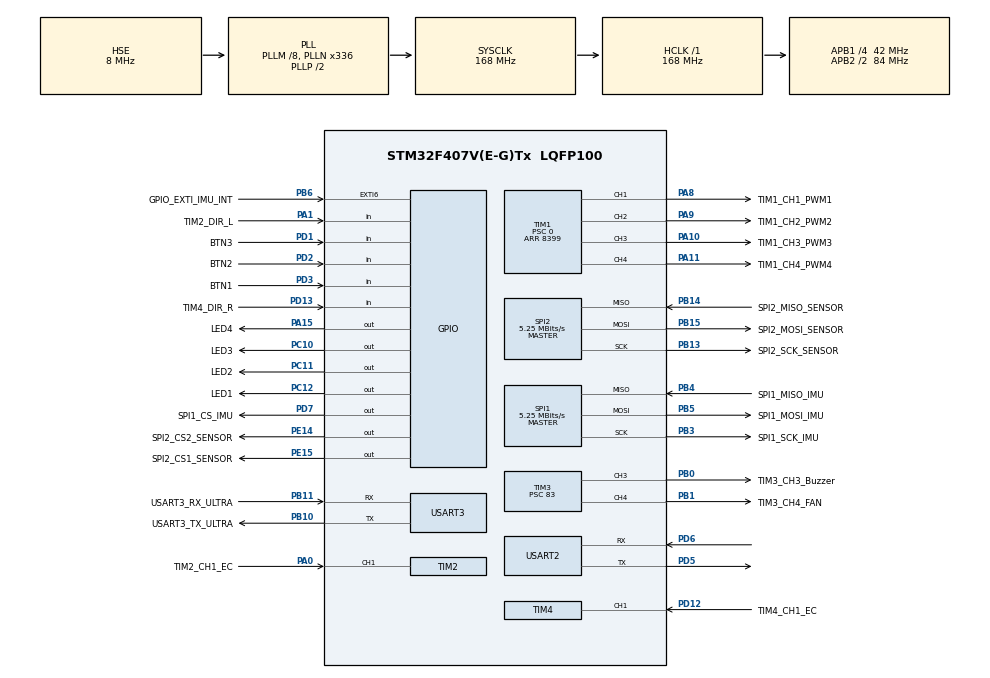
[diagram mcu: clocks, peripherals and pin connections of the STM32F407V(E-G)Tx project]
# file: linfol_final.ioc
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Dma.Request0=SPI2_RX
Dma.Request1=SPI2_TX
Dma.Request2=SPI1_RX
Dma.Request3=SPI1_TX
Dma.SPI1_RX.2.Direction=DMA_PERIPH_TO_MEMORY
Dma.SPI1_RX.2.FIFOMode=DMA_FIFOMODE_DISABLE
Dma.SPI1_RX.2.Instance=DMA2_Stream0
Dma.SPI1_RX.2.MemDataAlignment=DMA_MDATAALIGN_BYTE
Dma.SPI1_RX.2.MemInc=DMA_MINC_ENABLE
Dma.SPI1_RX.2.Mode=DMA_NORMAL
Dma.SPI1_RX.2.PeriphDataAlignment=DMA_PDATAALIGN_BYTE
Dma.SPI1_RX.2.PeriphInc=DMA_PINC_DISABLE
Dma.SPI1_RX.2.Priority=DMA_PRIORITY_MEDIUM
Dma.SPI1_TX.3.Direction=DMA_MEMORY_TO_PERIPH
Dma.SPI1_TX.3.FIFOMode=DMA_FIFOMODE_DISABLE
Dma.SPI1_TX.3.Instance=DMA2_Stream3
Dma.SPI1_TX.3.MemDataAlignment=DMA_MDATAALIGN_BYTE
Dma.SPI1_TX.3.MemInc=DMA_MINC_ENABLE
Dma.SPI1_TX.3.Mode=DMA_NORMAL
Dma.SPI1_TX.3.PeriphDataAlignment=DMA_PDATAALIGN_BYTE
Dma.SPI1_TX.3.PeriphInc=DMA_PINC_DISABLE
Dma.SPI1_TX.3.Priority=DMA_PRIORITY_MEDIUM
Dma.SPI2_RX.0.Direction=DMA_PERIPH_TO_MEMORY
Dma.SPI2_RX.0.FIFOMode=DMA_FIFOMODE_DISABLE
Dma.SPI2_RX.0.Instance=DMA1_Stream3
Dma.SPI2_RX.0.MemDataAlignment=DMA_MDATAALIGN_HALFWORD
Dma.SPI2_RX.0.MemInc=DMA_MINC_ENABLE
Dma.SPI2_RX.0.Mode=DMA_NORMAL
Dma.SPI2_RX.0.PeriphDataAlignment=DMA_PDATAALIGN_HALFWORD
Dma.SPI2_RX.0.PeriphInc=DMA_PINC_DISABLE
Dma.SPI2_RX.0.Priority=DMA_PRIORITY_HIGH
Dma.SPI2_TX.1.Direction=DMA_MEMORY_TO_PERIPH
Dma.SPI2_TX.1.FIFOMode=DMA_FIFOMODE_DISABLE
Dma.SPI2_TX.1.Instance=DMA1_Stream4
Dma.SPI2_TX.1.MemDataAlignment=DMA_MDATAALIGN_HALFWORD
Dma.SPI2_TX.1.MemInc=DMA_MINC_ENABLE
Dma.SPI2_TX.1.Mode=DMA_NORMAL
Dma.SPI2_TX.1.PeriphDataAlignment=DMA_PDATAALIGN_HALFWORD
Dma.SPI2_TX.1.PeriphInc=DMA_PINC_DISABLE
Dma.SPI2_TX.1.Priority=DMA_PRIORITY_HIGH
Mcu.Family=STM32F4
Mcu.Name=STM32F407V(E-G)Tx
Mcu.Package=LQFP100
NVIC.DMA1_Stream3_IRQn=true\:2\:0\:true\:false\:true\:false\:true\:true
NVIC.DMA1_Stream4_IRQn=true\:2\:0\:true\:false\:true\:false\:true\:true
NVIC.DMA2_Stream0_IRQn=true\:3\:0\:true\:false\:true\:false\:true\:true
NVIC.DMA2_Stream3_IRQn=true\:3\:0\:true\:false\:true\:false\:true\:true
NVIC.PriorityGroup=NVIC_PRIORITYGROUP_4
NVIC.SPI1_IRQn=true\:3\:0\:true\:false\:true\:true\:true\:true
NVIC.SPI2_IRQn=true\:2\:0\:true\:false\:true\:true\:true\:true
NVIC.TIM2_IRQn=true\:4\:0\:true\:false\:true\:true\:true\:true
NVIC.TIM4_IRQn=true\:4\:0\:true\:false\:true\:true\:true\:true
NVIC.TIM7_IRQn=true\:1\:0\:true\:false\:true\:true\:true\:true
NVIC.USART2_IRQn=true\:6\:0\:true\:false\:true\:true\:true\:true
NVIC.USART3_IRQn=true\:5\:0\:true\:false\:true\:true\:true\:true
PA0-WKUP.GPIO_Label=TIM2_CH1_EC
PA0-WKUP.Signal=S_TIM2_CH1_ETR
PA1.GPIO_Label=TIM2_DIR_L
PA1.GPIO_PuPd=GPIO_NOPULL
PA1.Signal=GPIO_Input
PA10.GPIO_Label=TIM1_CH3_PWM3
PA10.GPIO_Speed=GPIO_SPEED_FREQ_HIGH
PA10.Signal=S_TIM1_CH3
PA11.GPIO_Label=TIM1_CH4_PWM4
PA11.GPIO_Speed=GPIO_SPEED_FREQ_HIGH
PA11.Signal=S_TIM1_CH4
PA13.Mode=Serial_Wire
PA13.Signal=SYS_JTMS-SWDIO
PA14.Mode=Serial_Wire
PA14.Signal=SYS_JTCK-SWCLK
PA15.GPIO_Label=LED4
PA15.Signal=GPIO_Output
PA8.GPIO_Label=TIM1_CH1_PWM1
PA8.GPIO_Speed=GPIO_SPEED_FREQ_HIGH
PA8.Signal=S_TIM1_CH1
PA9.GPIO_Label=TIM1_CH2_PWM2
PA9.GPIO_Speed=GPIO_SPEED_FREQ_HIGH
PA9.Signal=S_TIM1_CH2
PB0.GPIO_Label=TIM3_CH3_Buzzer
PB0.Signal=S_TIM3_CH3
PB1.GPIO_Label=TIM3_CH4_FAN
PB1.Signal=S_TIM3_CH4
PB10.GPIO_Label=USART3_TX_ULTRA
PB10.Mode=Asynchronous
PB10.Signal=USART3_TX
PB11.GPIO_Label=USART3_RX_ULTRA
PB11.Mode=Asynchronous
PB11.Signal=USART3_RX
PB13.GPIO_Label=SPI2_SCK_SENSOR
PB13.Mode=Full_Duplex_Master
PB13.Signal=SPI2_SCK
PB14.GPIO_Label=SPI2_MISO_SENSOR
PB14.Mode=Full_Duplex_Master
PB14.Signal=SPI2_MISO
PB15.GPIO_Label=SPI2_MOSI_SENSOR
PB15.Mode=Full_Duplex_Master
PB15.Signal=SPI2_MOSI
PB3.GPIO_Label=SPI1_SCK_IMU
PB3.Mode=Full_Duplex_Master
PB3.Signal=SPI1_SCK
PB4.GPIO_Label=SPI1_MISO_IMU
PB4.Mode=Full_Duplex_Master
PB4.Signal=SPI1_MISO
PB5.GPIO_Label=SPI1_MOSI_IMU
PB5.Mode=Full_Duplex_Master
PB5.Signal=SPI1_MOSI
PB6.GPIO_Label=GPIO_EXTI_IMU_INT
PB6.GPIO_ModeDefaultEXTI=GPIO_MODE_IT_FALLING
PB6.GPIO_PuPd=GPIO_PULLUP
PB6.Signal=GPXTI6
PC10.GPIO_Label=LED3
PC10.Signal=GPIO_Output
PC11.GPIO_Label=LED2
PC11.Signal=GPIO_Output
PC12.GPIO_Label=LED1
PC12.Signal=GPIO_Output
PD1.GPIO_Label=BTN3
PD1.GPIO_PuPd=GPIO_PULLUP
PD1.Signal=GPIO_Input
PD12.GPIO_Label=TIM4_CH1_EC
PD12.Signal=S_TIM4_CH1
PD13.GPIO_Label=TIM4_DIR_R
PD13.GPIO_PuPd=GPIO_NOPULL
PD13.Signal=GPIO_Input
PD2.GPIO_Label=BTN2
PD2.GPIO_PuPd=GPIO_PULLUP
PD2.Signal=GPIO_Input
PD3.GPIO_Label=BTN1
PD3.GPIO_PuPd=GPIO_PULLUP
PD3.Signal=GPIO_Input
PD5.Mode=Asynchronous
PD5.Signal=USART2_TX
PD6.Mode=Asynchronous
PD6.Signal=USART2_RX
PD7.GPIO_Label=SPI1_CS_IMU
PD7.PinState=GPIO_PIN_SET
PD7.Signal=GPIO_Output
PE14.GPIO_Label=SPI2_CS2_SENSOR
PE14.Signal=GPIO_Output
PE15.GPIO_Label=SPI2_CS1_SENSOR
PE15.Signal=GPIO_Output
PH0-OSC_IN.Mode=HSE-External-Oscillator
PH0-OSC_IN.Signal=RCC_OSC_IN
PH1-OSC_OUT.Mode=HSE-External-Oscillator
PH1-OSC_OUT.Signal=RCC_OSC_OUT
ProjectManager.HeapSize=0x2000
ProjectManager.StackSize=0x2000
ProjectManager.TargetToolchain=CMake
RCC.48MHZClocksFreq_Value=84000000
RCC.AHBFreq_Value=168000000
RCC.APB1CLKDivider=RCC_HCLK_DIV4
RCC.APB1Freq_Value=42000000
RCC.APB1TimFreq_Value=84000000
RCC.APB2CLKDivider=RCC_HCLK_DIV2
RCC.APB2Freq_Value=84000000
RCC.APB2TimFreq_Value=168000000
RCC.CortexFreq_Value=168000000
RCC.HCLKFreq_Value=168000000
RCC.HSE_VALUE=8000000
RCC.HSI_VALUE=16000000
RCC.LSE_VALUE=32768
RCC.PLLM=8
RCC.PLLN=336
RCC.PLLSourceVirtual=RCC_PLLSOURCE_HSE
RCC.SYSCLKFreq_VALUE=168000000
RCC.SYSCLKSource=RCC_SYSCLKSOURCE_PLLCLK
RCC.VCOOutputFreq_Value=336000000
SH.S_TIM1_CH1.0=TIM1_CH1,PWM Generation1 CH1
SH.S_TIM1_CH2.0=TIM1_CH2,PWM Generation2 CH2
SH.S_TIM1_CH3.0=TIM1_CH3,PWM Generation3 CH3
SH.S_TIM1_CH4.0=TIM1_CH4,PWM Generation4 CH4
SH.S_TIM2_CH1_ETR.0=TIM2_CH1,TriggerSource_TI1ED
SH.S_TIM3_CH3.0=TIM3_CH3,PWM Generation3 CH3
SH.S_TIM3_CH4.0=TIM3_CH4,PWM Generation4 CH4
SH.S_TIM4_CH1.0=TIM4_CH1,TriggerSource_TI1ED
SPI1.BaudRatePrescaler=SPI_BAUDRATEPRESCALER_16
SPI1.CalculateBaudRate=5.25 MBits/s
SPI1.DataSize=SPI_DATASIZE_8BIT
SPI1.Direction=SPI_DIRECTION_2LINES
SPI1.Mode=SPI_MODE_MASTER
SPI1.VirtualType=VM_MASTER
SPI2.BaudRatePrescaler=SPI_BAUDRATEPRESCALER_8
SPI2.CLKPolarity=SPI_POLARITY_LOW
SPI2.CalculateBaudRate=5.25 MBits/s
SPI2.DataSize=SPI_DATASIZE_16BIT
SPI2.Direction=SPI_DIRECTION_2LINES
SPI2.Mode=SPI_MODE_MASTER
SPI2.VirtualType=VM_MASTER
TIM1.Channel-PWM\ Generation1\ CH1=TIM_CHANNEL_1
TIM1.Channel-PWM\ Generation2\ CH2=TIM_CHANNEL_2
TIM1.Channel-PWM\ Generation3\ CH3=TIM_CHANNEL_3
TIM1.Channel-PWM\ Generation4\ CH4=TIM_CHANNEL_4
TIM1.Period=8399
TIM1.Prescaler=0
TIM2.AutoReloadPreload=TIM_AUTORELOAD_PRELOAD_ENABLE
TIM2.IC1Filter=10
TIM2.Period=65535
TIM2.Prescaler=0
TIM3.Channel-PWM\ Generation3\ CH3=TIM_CHANNEL_3
TIM3.Channel-PWM\ Generation4\ CH4=TIM_CHANNEL_4
TIM3.Period=19999
TIM3.Prescaler=83
TIM4.AutoReloadPreload=TIM_AUTORELOAD_PRELOAD_ENABLE
TIM4.IC1Filter=10
TIM4.Period=65535
TIM4.Prescaler=0
TIM7.Period=999
TIM7.Prescaler=83
USART2.VirtualMode=VM_ASYNC
USART3.VirtualMode=VM_ASYNC
VP_TIM1_VS_ClockSourceINT.Mode=Internal
VP_TIM3_VS_ClockSourceINT.Mode=Internal
VP_TIM7_VS_ClockSourceINT.Mode=Enable_Timer
board=custom

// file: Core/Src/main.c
/* USER CODE BEGIN Header */
/**
  ******************************************************************************
  * @file           : main.c
  * @brief          : Main program body
  ******************************************************************************
  * @attention
  *
  * Copyright (c) 2026 STMicroelectronics.
  * All rights reserved.
  *
  * This software is licensed under terms that can be found in the LICENSE file
  * in the root directory of this software component.
  * If no LICENSE file comes with this software, it is provided AS-IS.
  *
  ******************************************************************************
  */
/* USER CODE END Header */
#include "main.h"
#include "dma.h"
#include "spi.h"
#include "tim.h"
#include "usart.h"
#include "gpio.h"

/* USER CODE BEGIN Includes */
#include "app_common.h"
#include "app_vofa_cmd.h"   /* ⚠️ 新增: VOFA+ 在线调参模块 */
/* USER CODE END Includes */

void SystemClock_Config(void);

int main(void)
{

  /* MCU Configuration--------------------------------------------------------*/

  /* Reset of all peripherals, Initializes the Flash interface and the Systick. */
  HAL_Init();

  /* Configure the system clock */
  SystemClock_Config();

  /* Initialize all configured peripherals */
  MX_GPIO_Init();
  MX_DMA_Init();
  MX_SPI1_Init();
  MX_SPI2_Init();
  MX_TIM1_Init();
  MX_TIM2_Init();
  MX_TIM3_Init();
  MX_USART2_UART_Init();
  MX_TIM4_Init();
  MX_USART3_UART_Init();
  MX_TIM7_Init();
  /* USER CODE BEGIN 2 */
  app_button_init();
  app_encoder_init();
  app_motor_init();
  app_gyro_init();
  // app_fengshan(1);     // 风扇, 如需要取消注释 (~24s 渐加速)
  app_adc_init();
  app_vofa_init();        // VOFA+ TX DMA 初始化 (发送 12 通道遥测)
                          //   必须在 MX_DMA_Init 和 MX_USART2_UART_Init 之后
  app_vofa_cmd_init();    // ⚠️ 新增: VOFA+ RX DMA + IDLE 中断初始化
                          //   在 app_vofa_init 之后, 复用同一个 USART2
                          //   支持运行时通过 VOFA+ 命令面板修改 PID 参数

  // app_pidtest_init();  // ⚠️ 已移除: 原 PID 测试模式不再使用,
                          //   改由 VOFA+ 在线调参 (app_vofa_cmd) 取代

  HAL_TIM_Base_Start_IT(&htim7);  // 启动 1ms 控制中断!
  uint32_t adc_poll_tick = HAL_GetTick();
  /* USER CODE END 2 */

  /* Infinite loop */
  while (1)
  {

    /* USER CODE BEGIN 3 */
    /*
     * ⚠️ printf 已注释: USART2 现在由 VOFA+ 独占 (TX 发波形, RX 收命令)
     *    printf 的阻塞发送会和 DMA 冲突, 导致数据错乱
     *    所有调试数据都通过 VOFA+ 12 个通道查看
     *    所有 PID 参数修改通过 VOFA+ 命令面板发 "NAME=VALUE\n"
     */
    // printf("%f,%f\r\n", jiaosudutobe, jiaosudu);

    /*
     * 解析 VOFA+ 接收到的参数调整命令
     *   - strtof / snprintf 太慢, 不适合放在 TIM7 1ms 中断里
     *   - 放在主循环, 响应延迟 <10ms 足够用
     */
    app_vofa_cmd_process();

    /* Keep blocking SPI out of the 1ms control ISR so serial commands and
     * SysTick can run. ADC/calibration/control calculations still run at 1ms. */
    uint32_t now = HAL_GetTick();
    if ((uint32_t)(now - adc_poll_tick) >= 5u)
    {
      app_adc_poll();
      adc_poll_tick = HAL_GetTick();
    }

    /*
     * VOFA 数据发送移到主循环 (不在 TIM7 ISR 里)
     *   原因: ISR 跑 ~5.6ms, DMA 完成中断会被持续 pending 的
     *   TIM7 饿死. 主循环在 Thread mode 运行, DMA 中断可以正常触发.
     */
    app_vofa_send();

    HAL_Delay(2);
  }
  /* USER CODE END 3 */
}

void SystemClock_Config(void)
{
  RCC_OscInitTypeDef RCC_OscInitStruct = {0};
  RCC_ClkInitTypeDef RCC_ClkInitStruct = {0};

  /** Configure the main internal regulator output voltage
  */
  __HAL_RCC_PWR_CLK_ENABLE();
  __HAL_PWR_VOLTAGESCALING_CONFIG(PWR_REGULATOR_VOLTAGE_SCALE1);

  /** Initializes the RCC Oscillators according to the specified parameters
  * in the RCC_OscInitTypeDef structure.
  */
  RCC_OscInitStruct.OscillatorType = RCC_OSCILLATORTYPE_HSE;
  RCC_OscInitStruct.HSEState = RCC_HSE_ON;
  RCC_OscInitStruct.PLL.PLLState = RCC_PLL_ON;
  RCC_OscInitStruct.PLL.PLLSource = RCC_PLLSOURCE_HSE;
  RCC_OscInitStruct.PLL.PLLM = 8;
  RCC_OscInitStruct.PLL.PLLN = 336;
  RCC_OscInitStruct.PLL.PLLP = RCC_PLLP_DIV2;
  RCC_OscInitStruct.PLL.PLLQ = 4;
  if (HAL_RCC_OscConfig(&RCC_OscInitStruct) != HAL_OK)
  {
    Error_Handler();
  }

  /** Initializes the CPU, AHB and APB buses clocks
  */
  RCC_ClkInitStruct.ClockType = RCC_CLOCKTYPE_HCLK|RCC_CLOCKTYPE_SYSCLK
                              |RCC_CLOCKTYPE_PCLK1|RCC_CLOCKTYPE_PCLK2;
  RCC_ClkInitStruct.SYSCLKSource = RCC_SYSCLKSOURCE_PLLCLK;
  RCC_ClkInitStruct.AHBCLKDivider = RCC_SYSCLK_DIV1;
  RCC_ClkInitStruct.APB1CLKDivider = RCC_HCLK_DIV4;
  RCC_ClkInitStruct.APB2CLKDivider = RCC_HCLK_DIV2;

  if (HAL_RCC_ClockConfig(&RCC_ClkInitStruct, FLASH_LATENCY_5) != HAL_OK)
  {
    Error_Handler();
  }
}

/* USER CODE BEGIN 4 */
/*
 * ⚠️ _write / printf 重定向已移除
 *    USART2 现在由 VOFA+ 独占使用 (TX 发波形 + RX 收命令)
 *    如果需要恢复 printf, 必须先关闭 VOFA (注释掉 app_vofa_init / app_vofa_cmd_init / app_vofa_send)
 */
/*
#ifdef __GNUC__
int _write(int fd, char *ptr, int len)
{
    HAL_UART_Transmit(&huart2, (uint8_t *)ptr, len, HAL_MAX_DELAY);
    return len;
}
#endif
*/
/* USER CODE END 4 */

void Error_Handler(void)
{
  __disable_irq();
  while (1)
  {
  }
}
